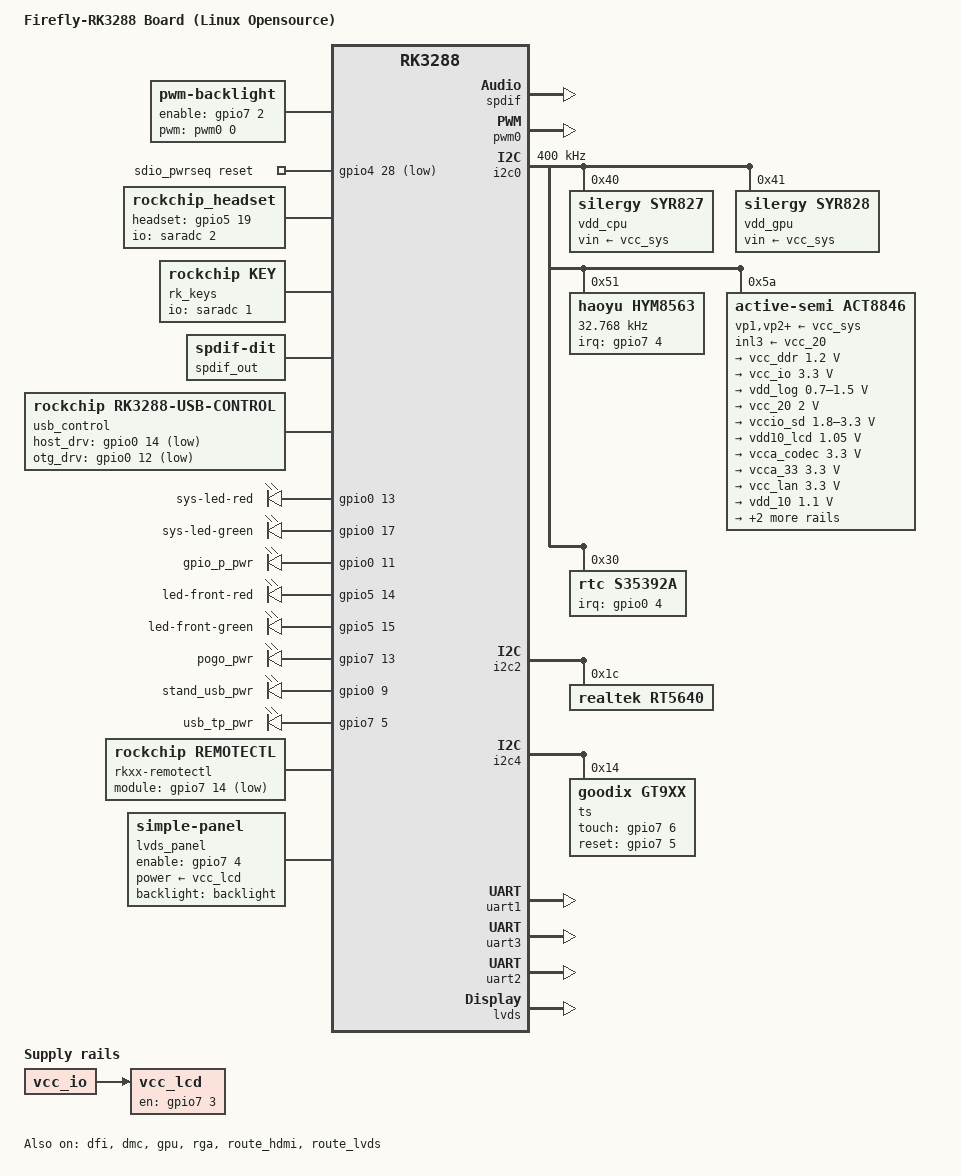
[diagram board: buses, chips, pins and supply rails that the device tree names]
/*
 * Copyright (c) 2015~2017 Fuzhou Rockchip Electronics Co., Ltd
 *
 * This file is dual-licensed: you can use it either under the terms
 * of the GPL or the X11 license, at your option. Note that this dual
 * licensing only applies to this file, and not this project as a
 * whole.
 *
 *  a) This file is free software; you can redistribute it and/or
 *     modify it under the terms of the GNU General Public License as
 *     published by the Free Software Foundation; either version 2 of the
 *     License, or (at your option) any later version.
 *
 *     This file is distributed in the hope that it will be useful,
 *     but WITHOUT ANY WARRANTY; without even the implied warranty of
 *     MERCHANTABILITY or FITNESS FOR A PARTICULAR PURPOSE.  See the
 *     GNU General Public License for more details.
 *
 * Or, alternatively,
 *
 *  b) Permission is hereby granted, free of charge, to any person
 *     obtaining a copy of this software and associated documentation
 *     files (the "Software"), to deal in the Software without
 *     restriction, including without limitation the rights to use,
 *     copy, modify, merge, publish, distribute, sublicense, and/or
 *     sell copies of the Software, and to permit persons to whom the
 *     Software is furnished to do so, subject to the following
 *     conditions:
 *
 *     The above copyright notice and this permission notice shall be
 *     included in all copies or substantial portions of the Software.
 *
 *     THE SOFTWARE IS PROVIDED "AS IS", WITHOUT WARRANTY OF ANY KIND,
 *     EXPRESS OR IMPLIED, INCLUDING BUT NOT LIMITED TO THE WARRANTIES
 *     OF MERCHANTABILITY, FITNESS FOR A PARTICULAR PURPOSE AND
 *     NONINFRINGEMENT. IN NO EVENT SHALL THE AUTHORS OR COPYRIGHT
 *     HOLDERS BE LIABLE FOR ANY CLAIM, DAMAGES OR OTHER LIABILITY,
 *     WHETHER IN AN ACTION OF CONTRACT, TORT OR OTHERWISE, ARISING
 *     FROM, OUT OF OR IN CONNECTION WITH THE SOFTWARE OR THE USE OR
 *     OTHER DEALINGS IN THE SOFTWARE.
 */

/dts-v1/;
#include "rk3288-firefly-port_10P.dtsi"
#include "rk3288-linux.dtsi"
//#include <dt-bindings/sensor-dev.h>
#include <dt-bindings/display/media-bus-format.h>

/ {
	model = "Firefly-RK3288 Board (Linux Opensource)";
	compatible = "rockchip,rk3288-firefly", "rockchip,rk3288";

	backlight: backlight {
		compatible = "pwm-backlight";
		status = "okay";
		brightness-levels = </*
			  0   1   2   3   4   5   6   7
			  8   9  10  11  12  13  14  15
			 16  17  18  19  20  21  22  23
			 24  25  26  27  28  29  30  31
			 32  33  34  35*/36  37  38  39
			 40  41  42  43  44  45  46  47
			 48  49  50  51  52  53  54  55
			 56  57  58  59  60  61  62  63
			 64  65  66  67  68  69  70  71
			 72  73  74  75  76  77  78  79
			 80  81  82  83  84  85  86  87
			 88  89  90  91  92  93  94  95
			 96  97  98  99 100 101 102 103
			104 105 106 107 108 109 110 111
			112 113 114 115 116 117 118 119
			120 121 122 123 124 125 126 127
			128 129 130 131 132 133 134 135
			136 137 138 139 140 141 142 143
			144 145 146 147 148 149 150 151
			152 153 154 155 156 157 158 159
			160 161 162 163 164 165 166 167
			168 169 170 171 172 173 174 175
			176 177 178 179 180 181 182 183
			184 185 186 187 188 189 190 191
			192 193 194 195 196 197 198 199
			200 201 202 203 204 205 206 207
			208 209 210 211 212 213 214 215
			216 217 218 219 220 221 222 223
			224 225 226 227 228 229 230 231
			232 233 234 235 236 237 238 239
			240 241 242 243 244 245 246 247
			248 249 250 251 252 253 254 255>;
		default-brightness-level = <200>;
		enable-gpios = <&gpio7 2 GPIO_ACTIVE_HIGH>;
		pinctrl-names = "default";
		pinctrl-0 = <&bl_en>;
		//pwms = <&pwm0 0 1000000 PWM_POLARITY_INVERTED>;
		pwms = <&pwm0 0 50000 0>;
	};

	sdio_pwrseq: sdio-pwrseq {
		compatible = "mmc-pwrseq-simple";
		clocks = <&hym8563>;
		clock-names = "ext_clock";
		pinctrl-names = "default";
		pinctrl-0 = <&wifi_enable_h>;

		/*
		 * On the module itself this is one of these (depending
		 * on the actual card populated):
		 * - SDIO_RESET_L_WL_REG_ON
		 * - PDN (power down when low)
		 */
		reset-gpios = <&gpio4 28 GPIO_ACTIVE_LOW>;
	};

	rt5640-sound {
		compatible = "rockchip,rockchip-rt5640-sound";
		rockchip,cpu = <&i2s>;
		rockchip,codec = <&rt5640 &rt5640 &hdmi>;
		status = "okay";
	};
/*
	sound: sound {
		status = "okay";
		compatible = "simple-audio-card";
		simple-audio-card,format = "i2s";
		simple-audio-card,name = "rockchip,rt5640-codec";
		simple-audio-card,mclk-fs = <512>;
		simple-audio-card,widgets =
			"Microphone", "Microphone Jack",
			"Headphone", "Headphone Jack";
		simple-audio-card,routing =
			"MIC1", "Microphone Jack",
			"MIC2", "Microphone Jack",
			"Microphone Jack", "micbias1",
			"Headphone Jack", "HPOL",
			"Headphone Jack", "HPOR";

		simple-audio-card,dai-link@0 {
			format = "i2s";
			cpu {
				sound-dai = <&i2s>;
			};

			codec {
				sound-dai = <&rt5640>;
			};
		};

		simple-audio-card,dai-link@1 {
			format = "i2s";
			cpu {
				sound-dai = <&i2s>;
			};

			codec {
				sound-dai = <&hdmi>;
			};
		};
	};*/

	rockchip_headset {
		status = "okay";
		compatible = "rockchip_headset";
		headset_gpio = <&gpio5 19 GPIO_ACTIVE_HIGH>;
		pinctrl-names = "default";
		pinctrl-0 = <&hp_det>;
		io-channels = <&saradc 2>; 
    // hook_gpio = ;
    // hook_down_type = ; //interrupt hook key down status      
   };
	rk_keys{
		status = "okay";
		compatible = "rockchip,key";
		io-channels = <&saradc 1>;


		power-key {
			gpios = <&gpio0 5 GPIO_ACTIVE_LOW>;
			linux,code = <116>;
			pinctrl-names = "default";
			pinctrl-0 = <&pwrbtn>;
			label = "power";
			gpio-key,wakeup;
		};
	
	};

	spdif_out: spdif-out {
		status = "okay";
		compatible = "linux,spdif-dit";
		#sound-dai-cells = <0>;
	};
	spdif-sound {
		status = "okay";
		compatible = "simple-audio-card";
		simple-audio-card,name = "ROCKCHIP,SPDIF";
		simple-audio-card,cpu {
			sound-dai = <&spdif>;
		};

		simple-audio-card,codec {
			sound-dai = <&spdif_out>;
		};
	};
		vcc_lcd: vcc-lcd {
		compatible = "regulator-fixed";
		enable-active-high;
		gpio = <&gpio7 3 GPIO_ACTIVE_HIGH>;
		pinctrl-names = "default";
		pinctrl-0 = <&lcd_en>;
		regulator-name = "vcc_lcd";
		regulator-boot-on;
		vin-supply = <&vcc_io>;
	};
	
	usb_control {
		compatible = "rockchip,rk3288-usb-control";

		host_drv_gpio = <&gpio0 14 GPIO_ACTIVE_LOW>;
		otg_drv_gpio = <&gpio0 12 GPIO_ACTIVE_LOW>;

		rockchip,remote_wakeup;
		rockchip,usb_irq_wakeup;
	};
	
	gpio-leds {
	        compatible = "gpio-leds";
	        pinctrl-names = "default";
		
		// SYS POWER LED
	        sys-led-red {
	            label = "sys-led-red";
	            gpios = <&gpio0 13 GPIO_ACTIVE_HIGH>;
		    			default-state = "off";
	        };

	        sys-led-green {
	            label = "sys-led-green";
	            gpios = <&gpio0 17 GPIO_ACTIVE_HIGH>;
		    			default-state = "on";
	        };
		
		//GPIO-P_EN
		gpio_p_pwr {
	            label = "gpio_p_pwr";
	            gpios = <&gpio0 11 GPIO_ACTIVE_HIGH>;
		    default-state = "on";
	        };
	
		//GPO1
		led-front-red {
	            label = "led-front-red";
	            gpios = <&gpio5 14 GPIO_ACTIVE_HIGH>;
		    default-state = "on";
	        };
		//GPO2
		led-front-green {
	            label = "led-front-green";
	            gpios = <&gpio5 15 GPIO_ACTIVE_HIGH>;
		    default-state = "on";
	        };
	
		//USB_IO_CTL
		pogo_pwr {
	            label = "pogo_pwr";
	            gpios = <&gpio7 13 GPIO_ACTIVE_HIGH>;
		    default-state = "on";
	        };
	
		//Stand_USB
		stand_usb_pwr {
	            label = "stand_usb_pwr";
	            gpios = <&gpio0 9 GPIO_ACTIVE_HIGH>;
		    default-state = "on";
	        };
		
		//USB_TP
		tp_pwr {
            		label = "usb_tp_pwr";
            		gpios = <&gpio7 5 GPIO_ACTIVE_HIGH>;
	   		default-state = "on";
        	};
	
	};
	rkxx-remotectl{
	        compatible = "rockchip,remotectl";
	        module-gpios = <&gpio7 14 GPIO_ACTIVE_LOW>;
	        status = "okay";
    	};

};

&spdif {
	status = "okay";
};

&cpu0 {
	cpu0-supply = <&vdd_cpu>;
};

&dfi {
	status = "okay";
};

&dmc {
	center-supply = <&vdd_log>;
	status = "okay";
};

&gpu {
	status = "okay";
	mali-supply = <&vdd_gpu>;
};

&pwm0 {
	status = "okay";
};

&i2c0 {
	clock-frequency = <400000>;

	vdd_cpu: syr827@40 {
		compatible = "silergy,syr827";
		fcs,suspend-voltage-selector = <1>;
		reg = <0x40>;
		regulator-name = "vdd_cpu";
		regulator-min-microvolt = <850000>;
		regulator-max-microvolt = <1350000>;
		regulator-always-on;
		regulator-boot-on;
		regulator-enable-ramp-delay = <300>;
		regulator-ramp-delay = <8000>;
		vin-supply = <&vcc_sys>;
		regulator-state-mem {
			regulator-off-in-suspend;
		};
	};

	vdd_gpu: syr828@41 {
		compatible = "silergy,syr828";
		fcs,suspend-voltage-selector = <1>;
		reg = <0x41>;
		regulator-name = "vdd_gpu";
		regulator-min-microvolt = <850000>;
		regulator-max-microvolt = <1350000>;
		regulator-always-on;
		regulator-ramp-delay = <6000>;
		vin-supply = <&vcc_sys>;
		regulator-state-mem {
			regulator-off-in-suspend;
		};
	};

	hym8563: hym8563@51 {
		compatible = "haoyu,hym8563";
		reg = <0x51>;
		interrupt-parent = <&gpio7>;
		interrupts = <4 IRQ_TYPE_EDGE_FALLING>;
		#clock-cells = <0>;
		clock-frequency = <32768>;
		clock-output-names = "xin32k";
		pinctrl-names = "default";
		pinctrl-0 = <&rtc_int>;
	};

	act8846: act8846@5a {
		compatible = "active-semi,act8846";
		reg = <0x5a>;
		pinctrl-names = "default";
		pinctrl-0 = <&pmic_vsel>, <&pwr_hold>;
		system-power-controller;

		vp1-supply = <&vcc_sys>;
		vp2-supply = <&vcc_sys>;
		vp3-supply = <&vcc_sys>;
		vp4-supply = <&vcc_sys>;
		inl1-supply = <&vcc_sys>;
		inl2-supply = <&vcc_sys>;
		inl3-supply = <&vcc_20>;

		regulators {
			vcc_ddr: REG1 {
				regulator-name = "vcc_ddr";
				regulator-min-microvolt = <1200000>;
				regulator-max-microvolt = <1200000>;
				regulator-always-on;
			};

			vcc_io: REG2 {
				regulator-name = "vcc_io";
				regulator-min-microvolt = <3300000>;
				regulator-max-microvolt = <3300000>;
				regulator-always-on;
			};

			vdd_log: REG3 {
				regulator-name = "vdd_log";
				regulator-min-microvolt = <700000>;
				regulator-max-microvolt = <1500000>;
				regulator-always-on;
			};

			vcc_20: REG4 {
				regulator-name = "vcc_20";
				regulator-min-microvolt = <2000000>;
				regulator-max-microvolt = <2000000>;
				regulator-always-on;
			};

			vccio_sd: REG5 {
				regulator-name = "vccio_sd";
				regulator-min-microvolt = <1800000>;
				regulator-max-microvolt = <3300000>;
				regulator-always-on;
			};

			vdd10_lcd: REG6 {
				regulator-name = "vdd10_lcd";
				regulator-min-microvolt = <1050000>;
				regulator-max-microvolt = <1050000>;
				regulator-always-on;
			};

			vcca_codec: REG7 {
				regulator-name = "vcca_codec";
				regulator-min-microvolt = <3300000>;//1800000
				regulator-max-microvolt = <3300000>;
				regulator-always-on;
			};

			vcca_33: REG8 {
				regulator-name = "vcca_33";
				regulator-min-microvolt = <3300000>;
				regulator-max-microvolt = <3300000>;
				regulator-always-on;
			};

			vcc_lan: REG9 {
				regulator-name = "vcc_lan";
				regulator-min-microvolt = <3300000>;
				regulator-max-microvolt = <3300000>;
				regulator-always-on;
				regulator-boot-on;
			};

			vdd_10: REG10 {
				regulator-name = "vdd_10";
				regulator-min-microvolt = <1100000>;
				regulator-max-microvolt = <1100000>;
				regulator-always-on;
			};

			vcc_18: REG11 {
				regulator-name = "vcc_18";
				regulator-min-microvolt = <1800000>;
				regulator-max-microvolt = <1800000>;
				regulator-always-on;
			};

			vcc18_lcd: REG12 {
				regulator-name = "vcc18_lcd";
				regulator-min-microvolt = <1850000>;
				regulator-max-microvolt = <1850000>;
				regulator-always-on;
			};
		};
	};

	rtc@30 {
		status = "okay";
		compatible = "rtc,s35392a";
		reg = <0x30>;
		irq_gpio = <&gpio0 4 IRQ_TYPE_EDGE_FALLING>;
	};
};

&i2c2 {
	status = "okay";
	rt5640: rt5640@1c {
		#sound-dai-cells = <0>;
		compatible = "realtek,rt5640";
		reg = <0x1c>;
		clocks = <&cru SCLK_I2S0_OUT>;
		//clocks = <&cru SCLK_I2S_8CH_OUT>;
		clock-names = "mclk";
		pinctrl-names = "default";
		pinctrl-0 = <&i2s0_mclk>;
		realtek,in1-differential;
		realtek,in2-differential;
		//hp-det-gpio = <&gpio5 19 GPIO_ACTIVE_LOW>;
	 	//io-channels = <&saradc 2>;
	 	//hp-det-adc-value = <500>;
		status = "okay";		
	};
};

&i2c4 {
	status = "okay";

	ts@14 {
		compatible = "goodix,gt9xx";
		reg = <0x14>;
		touch-gpio = <&gpio7 6 IRQ_TYPE_EDGE_RISING>;
		reset-gpio = <&gpio7 5 GPIO_ACTIVE_HIGH>;
		max-x = <1280>;
		max-y = <800>;
		tp-size = <928>;
	};
};

/*
&i2s {
	status = "okay";
	//rockchip,i2s-broken-burst-len;
	//rockchip,playback-channels = <8>;
	//rockchip,capture-channels = <2>;
	#sound-dai-cells = <0>;
};
*/
&rga {
	status = "okay";
};

&route_hdmi {
	status = "okay";
};

&route_lvds {
	status = "okay";
};
/*
&sound {
	status = "okay";
};
*/

&uart1 {
	status = "okay";
};
&uart3 {
	status = "okay";
};

&uart2 {
	status = "okay";
};

&hdmi_in_vopl {
	status = "disabled";
};

&lvds_in_vopb {
	status = "disabled";
};

&lvds {
	status = "okay";
};

&lvds_panel {
	status = "okay";
	compatible ="simple-panel";
	backlight = <&backlight>;
	bus-format = <MEDIA_BUS_FMT_RGB888_1X24>;
	enable-gpios = <&gpio7 4 GPIO_ACTIVE_HIGH>;
	enable-delay-ms = <10>;
	//pinctrl-0 = <&lcd_cs>;
	power-supply = <&vcc_lcd>;
	rockchip,data-mapping = "vesa";
	rockchip,data-width = <24>;
	rockchip,output = "duallvds";

	display-timings {
		native-mode = <&timing0>;

		timing0: timing0 {
			clock-frequency = <142400000>;
			hactive = <1920>;
			vactive = <1080>;
			hfront-porch = <1>;
			hsync-len = <1>;
			hback-porch = <90>;
			vfront-porch = <1>;
			vsync-len = <1>;
			vback-porch = <50>;
			hsync-active = <0>;
			vsync-active = <0>;
			de-active = <0>;
			pixelclk-active = <0>;
		};
	};
};



&pinctrl {
	act8846 {
		pmic_vsel: pmic-vsel {
			rockchip,pins = <7 14 RK_FUNC_GPIO &pcfg_output_low>;
		};

		pwr_hold: pwr-hold {
			rockchip,pins = <0 6 RK_FUNC_GPIO &pcfg_output_high>;
		};
	};
	backlight {
		bl_en: bl-en {
			rockchip,pins = <7 2 RK_FUNC_GPIO &pcfg_pull_none>;
		};
	};

	headphone {
		hp_det: hp-det {
			rockchip,pins = <5 19 RK_FUNC_GPIO &pcfg_pull_up>;
		};
	};

	lcd {
		lcd_en: lcd-en  {
			rockchip,pins = <7 3 RK_FUNC_GPIO &pcfg_pull_none>;
		};
		lcd_cs: lcd-cs {
			rockchip,pins = <7 4 RK_FUNC_GPIO &pcfg_pull_none>;
		};
	   };
};
